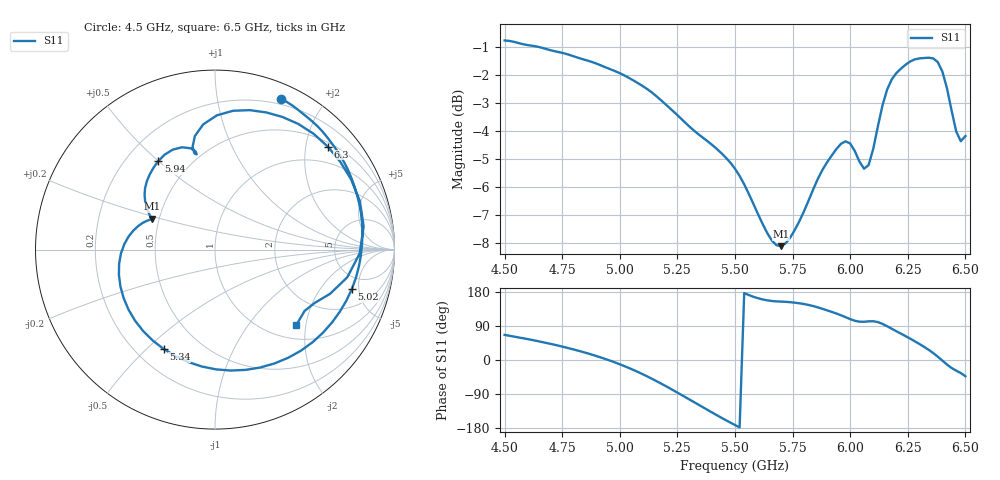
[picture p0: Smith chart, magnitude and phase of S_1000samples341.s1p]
! TOUCHSTONE file generated by CST MICROWAVE STUDIO
! Date and time: Thu Oct 27 20:19:34 2022
! Project name: L.cst
! Parameters = {Di=1.27; Epsilon_r=1.56; InnerDiameter=1.27; Length=2; Lf=10; Lg=60; OuterConductorThickness=0.2921; OuterDiameter=3.6; Wf=3; Wp=41.2; de=1.5; df=6.8; g=0.8; gx=3.14992; gy=0.832457; h=2.34; hf=1.524; px=10.5244; py=12.0869; w=9.7; wx=7.37452; wy=11.2545}
! Header version: 2018
! Port assignment regex: !\s*Touchstone port\s*([0-9]+)\s*=\s*(CST MWS port|CST DS port)\s*([0-9]+|Zmin|Zmax)\s*\(\"(.*)\"\)(\s*mode\s*([0-9]+))?.*
! Touchstone port assignment:
! Touchstone port 1 = CST MWS port 1 ("")
# GHz S DB R 50
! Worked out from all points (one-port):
!   101 points, 4.5 GHz to 6.5 GHz, reference 50 ohm
!   lowest |S11| = -8.1 dB at 5.7 GHz (marker M1), VSWR 2.29, Z = 22.7 + j9.22 ohm
!   |S11| at or under -10 dB: nowhere
!   S11 on the Smith chart (normalised r, x): 4.5 GHz: 0.15, +1.52; 5.02 GHz: 3.51, -4.19; 5.34 GHz: 0.31, -0.56; 5.94 GHz: 0.33, +0.50; 6.3 GHz: 0.59, +2.46; 6.5 GHz: 1.30, -1.77
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4.5  -0.76 66.2
4.64  -0.98 50.3
4.76  -1.22 34.0
4.9  -1.59 10.1
5  -1.93 -11.3
5.02  -2.01 -16.2
5.1  -2.39 -37.7
5.16  -2.76 -56.0
5.26  -3.51 -89.5
5.34  -4.11 -117.4
5.42  -4.64 -145.3
5.5  -5.35 -171.6
5.58  -6.61 166.8
5.7  -8.12 154.1
5.76  -7.54 151.3
5.86  -5.71 138.7
5.94  -4.65 122.7
6  -4.45 107.9
6.04  -5.09 101.1
6.08  -5.22 102.1
6.14  -3.09 95.4
6.2  -1.93 76.0
6.26  -1.51 56.5
6.3  -1.40 42.4
6.38  -1.53 8.8
6.42  -2.47 -11.9
6.46  -4.02 -28.2
6.5  -4.18 -42.9
